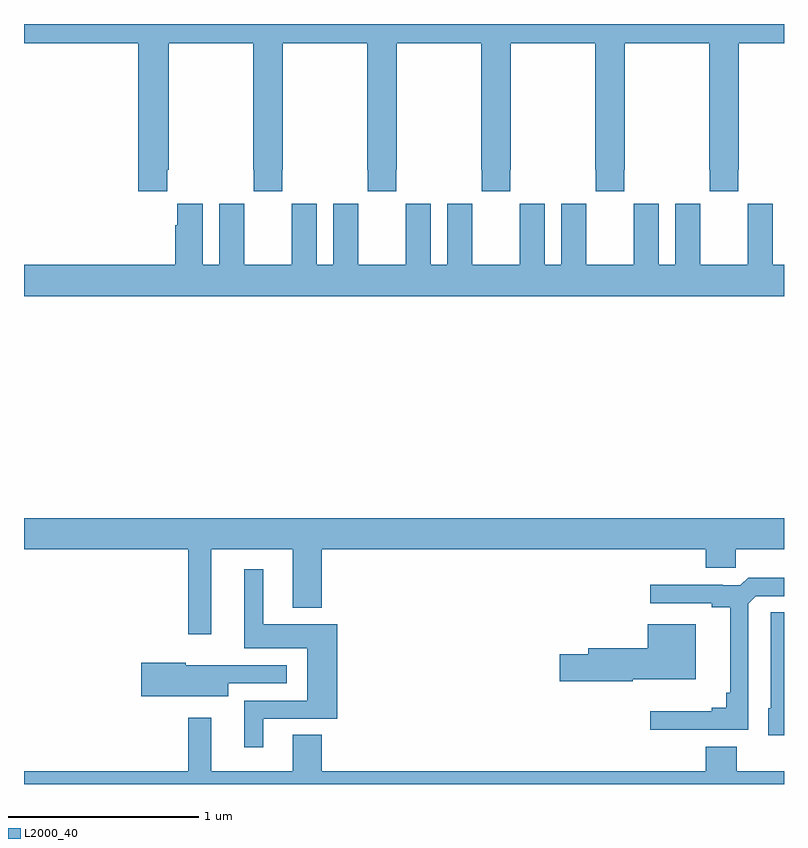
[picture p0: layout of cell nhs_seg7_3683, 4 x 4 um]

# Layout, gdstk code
import gdstk
lib = gdstk.Library(unit=1e-6, precision=1e-09)
def P(c, l, *ps):  # polygons
    for p in ps: c.add(gdstk.Polygon(p, *l))
L2000_40 = (2000, 40)

nhs_seg7_3683 = lib.new_cell('nhs_seg7_3683')
P(nhs_seg7_3683, L2000_40, [(345.755,1049.233),(345.762,1049.233),(345.762,1049.9),(346.207,1049.9),(346.207,1049.233),(346.209,1049.233),(346.209,1049.121),(346.359,1049.121),(346.359,1049.233),(346.362,1049.233),(346.362,1049.9),(346.807,1049.9),(346.807,1049.233),(346.809,1049.233),(346.809,1049.121),(346.959,1049.121),(346.959,1049.233),(346.962,1049.233),(346.962,1049.9),(347.407,1049.9),(347.407,1049.233),(347.409,1049.233),(347.409,1049.121),(347.559,1049.121),(347.559,1049.233),(347.562,1049.233),(347.562,1049.9),(348.007,1049.9),(348.007,1049.233),(348.009,1049.233),(348.009,1049.121),(348.159,1049.121),(348.159,1049.233),(348.162,1049.233),(348.162,1049.9),(348.607,1049.9),(348.607,1049.233),(348.609,1049.233),(348.609,1049.121),(348.759,1049.121),(348.759,1049.233),(348.762,1049.233),(348.762,1049.9),(349,1049.9),(349,1050),(345,1050),(345,1049.9),(345.602,1049.9),(345.602,1049.121),(345.755,1049.121)],
  [(349,1048.732),(348.94,1048.732),(348.94,1049.053),(348.81,1049.053),(348.81,1048.94),(348.809,1048.94),(348.809,1048.732),(348.559,1048.732),(348.559,1048.94),(348.558,1048.94),(348.558,1049.053),(348.428,1049.053),(348.428,1048.732),(348.34,1048.732),(348.34,1049.053),(348.21,1049.053),(348.21,1048.94),(348.209,1048.94),(348.209,1048.732),(347.959,1048.732),(347.959,1048.94),(347.958,1048.94),(347.958,1049.053),(347.828,1049.053),(347.828,1048.732),(347.74,1048.732),(347.74,1049.053),(347.61,1049.053),(347.61,1048.94),(347.609,1048.94),(347.609,1048.732),(347.359,1048.732),(347.359,1048.94),(347.358,1048.94),(347.358,1049.053),(347.228,1049.053),(347.228,1048.732),(347.14,1048.732),(347.14,1049.053),(347.01,1049.053),(347.01,1048.94),(347.009,1048.94),(347.009,1048.732),(346.759,1048.732),(346.759,1048.94),(346.758,1048.94),(346.758,1049.053),(346.628,1049.053),(346.628,1048.732),(346.54,1048.732),(346.54,1049.053),(346.41,1049.053),(346.41,1048.94),(346.409,1048.94),(346.409,1048.732),(346.159,1048.732),(346.159,1048.94),(346.158,1048.94),(346.158,1049.053),(346.028,1049.053),(346.028,1048.732),(345.94,1048.732),(345.94,1049.053),(345.806,1049.053),(345.806,1048.94),(345.797,1048.94),(345.797,1048.732),(345,1048.732),(345,1048.568),(349,1048.568)],
  [(345.985,1047.236),(346.415,1047.236),(346.415,1046.927),(346.568,1046.927),(346.568,1047.236),(348.587,1047.236),(348.587,1047.138),(348.747,1047.138),(348.747,1047.236),(349,1047.236),(349,1047.4),(345,1047.4),(345,1047.236),(345.864,1047.236),(345.864,1046.787),(345.985,1046.787)],
  [(346.258,1046.343),(346.649,1046.343),(346.649,1046.842),(346.258,1046.842),(346.258,1047.13),(346.16,1047.13),(346.16,1046.714),(346.49,1046.714),(346.49,1046.439),(346.16,1046.439),(346.16,1046.193),(346.258,1046.193)],
  [(348.813,1046.949),(348.852,1046.988),(349,1046.988),(349,1047.085),(348.811,1047.085),(348.771,1047.045),(348.677,1047.045),(348.677,1047.05),(348.297,1047.05),(348.297,1046.952),(348.62,1046.952),(348.62,1046.93),(348.716,1046.93),(348.716,1046.479),(348.697,1046.479),(348.697,1046.402),(348.62,1046.402),(348.62,1046.383),(348.297,1046.383),(348.297,1046.286),(348.813,1046.286)],
  [(349,1046.903),(348.93,1046.903),(348.93,1046.4),(348.917,1046.4),(348.917,1046.256),(349,1046.256)],
  [(348.204,1046.552),(348.535,1046.552),(348.535,1046.842),(348.284,1046.842),(348.284,1046.714),(347.969,1046.714),(347.969,1046.684),(347.82,1046.684),(347.82,1046.542),(348.204,1046.542)],
  [(346.075,1046.529),(346.384,1046.529),(346.384,1046.625),(346.071,1046.625),(346.071,1046.626),(345.852,1046.626),(345.852,1046.639),(345.618,1046.639),(345.618,1046.461),(346.075,1046.461)],
  [(349,1046.068),(348.751,1046.068),(348.751,1046.197),(348.587,1046.197),(348.587,1046.068),(346.568,1046.068),(346.568,1046.258),(346.415,1046.258),(346.415,1046.068),(345.985,1046.068),(345.985,1046.35),(345.864,1046.35),(345.864,1046.068),(345,1046.068),(345,1046),(349,1046)])

lib.write_gds('nhs_seg7_3683.gds')
